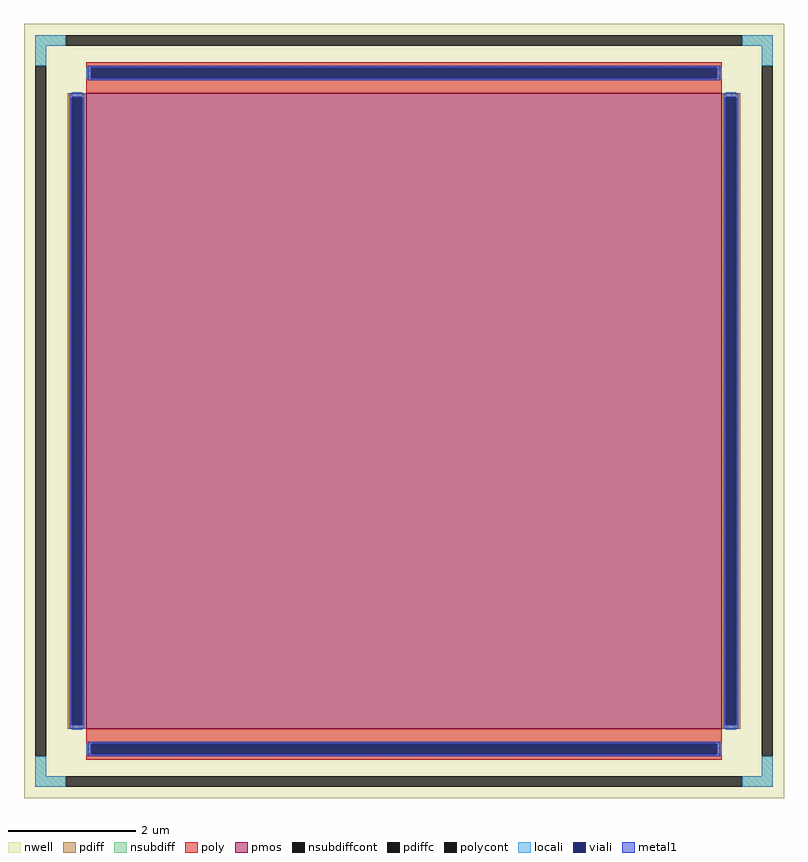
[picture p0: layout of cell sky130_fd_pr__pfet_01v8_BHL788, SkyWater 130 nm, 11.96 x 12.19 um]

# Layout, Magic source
magic
tech sky130A
magscale 1 2
<< nwell >>
rect -1196 -1219 1196 1219
<< pmos >>
rect -1000 -1000 1000 1000
<< pdiff >>
rect -1058 988 -1000 1000
rect -1058 -988 -1046 988
rect -1012 -988 -1000 988
rect -1058 -1000 -1000 -988
rect 1000 988 1058 1000
rect 1000 -988 1012 988
rect 1046 -988 1058 988
rect 1000 -1000 1058 -988
<< pdiffc >>
rect -1046 -988 -1012 988
rect 1012 -988 1046 988
<< nsubdiff >>
rect -1160 1149 -1064 1183
rect 1064 1149 1160 1183
rect -1160 1087 -1126 1149
rect 1126 1087 1160 1149
rect -1160 -1149 -1126 -1087
rect 1126 -1149 1160 -1087
rect -1160 -1183 -1064 -1149
rect 1064 -1183 1160 -1149
<< nsubdiffcont >>
rect -1064 1149 1064 1183
rect -1160 -1087 -1126 1087
rect 1126 -1087 1160 1087
rect -1064 -1183 1064 -1149
<< poly >>
rect -1000 1081 1000 1097
rect -1000 1047 -984 1081
rect 984 1047 1000 1081
rect -1000 1000 1000 1047
rect -1000 -1047 1000 -1000
rect -1000 -1081 -984 -1047
rect 984 -1081 1000 -1047
rect -1000 -1097 1000 -1081
<< polycont >>
rect -984 1047 984 1081
rect -984 -1081 984 -1047
<< locali >>
rect -1160 1149 -1064 1183
rect 1064 1149 1160 1183
rect -1160 1087 -1126 1149
rect 1126 1087 1160 1149
rect -1000 1047 -984 1081
rect 984 1047 1000 1081
rect -1046 988 -1012 1004
rect -1046 -1004 -1012 -988
rect 1012 988 1046 1004
rect 1012 -1004 1046 -988
rect -1000 -1081 -984 -1047
rect 984 -1081 1000 -1047
rect -1160 -1149 -1126 -1087
rect 1126 -1149 1160 -1087
rect -1160 -1183 -1064 -1149
rect 1064 -1183 1160 -1149
<< viali >>
rect -984 1047 984 1081
rect -1046 -988 -1012 988
rect 1012 -988 1046 988
rect -984 -1081 984 -1047
<< metal1 >>
rect -996 1081 996 1087
rect -996 1047 -984 1081
rect 984 1047 996 1081
rect -996 1041 996 1047
rect -1052 988 -1006 1000
rect -1052 -988 -1046 988
rect -1012 -988 -1006 988
rect -1052 -1000 -1006 -988
rect 1006 988 1052 1000
rect 1006 -988 1012 988
rect 1046 -988 1052 988
rect 1006 -1000 1052 -988
rect -996 -1047 996 -1041
rect -996 -1081 -984 -1047
rect 984 -1081 996 -1047
rect -996 -1087 996 -1081
<< properties >>
string gencell sky130_fd_pr__pfet_01v8
string FIXED_BBOX -1143 -1166 1143 1166
string parameters w 10.0 l 10.0 m 1 nf 1 diffcov 100 polycov 100 guard 1 glc 1 grc 1 gtc 1 gbc 1 tbcov 100 rlcov 100 topc 1 botc 1 poverlap 0 doverlap 1 lmin 0.15 wmin 0.42 compatible {sky130_fd_pr__pfet_01v8  sky130_fd_pr__pfet_01v8_lvt sky130_fd_pr__pfet_01v8_hvt  sky130_fd_pr__pfet_g5v0d10v5} full_metal 1 viasrc 100 viadrn 100 viagate 100 viagb 0 viagt 0 viagr 0 viagl 0
string library sky130
<< end >>
